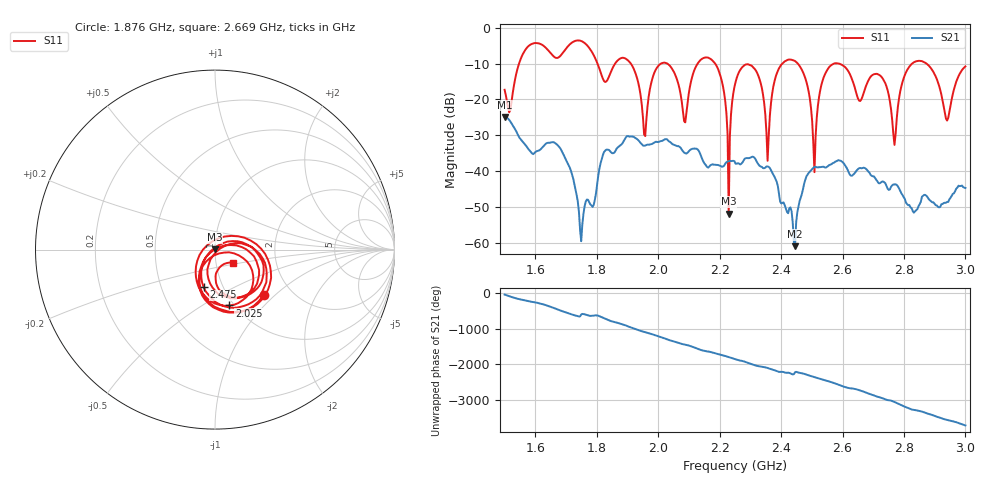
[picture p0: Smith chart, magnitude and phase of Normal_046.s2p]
# HZ S RI R 50
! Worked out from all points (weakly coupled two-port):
!   404 points, 1.5 GHz to 3 GHz, reference 50 ohm
!   highest |S21| = -24.88 dB at 1.5 GHz (marker M1); lowest = -60.9 dB at 2.445 GHz (marker M2)
!   lowest |S11| = -51.8 dB at 2.23 GHz (marker M3), VSWR 1.01, Z = 49.8 + j0.125 ohm
!   |S11| at or under -10 dB: 2.185 GHz to 2.404 GHz (219.1 MHz wide, 9.55 % of centre); 2.587 GHz to 2.827 GHz (239.8 MHz wide, 8.86 % of centre); 2.873 GHz to end of sweep (the widest 3 of 8)
!   S12 and S22 are empty: the file has one direction only
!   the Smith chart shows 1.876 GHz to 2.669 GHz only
!   S11 on the Smith chart (normalised r, x): 1.876 GHz: 1.46, -0.85; 2.025 GHz: 0.95, -0.66; 2.475 GHz: 0.81, -0.36; 2.669 GHz: 1.20, -0.18
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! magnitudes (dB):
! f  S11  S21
! 1.5 GHz  -17.3  -24.9
! 1.679 GHz  -8.1  -33.3
! 1.753 GHz  -3.9  -54.7
! 1.876 GHz  -8.6  -32.8
! 1.958 GHz  -30.2  -32.9
! 2.002 GHz  -10.5  -31.8
! 2.025 GHz  -9.9  -31.1
! 2.088 GHz  -26.4  -35.0
! 2.181 GHz  -9.6  -38.2
! 2.23 GHz  -51.8  -37.2
! 2.252 GHz  -15.2  -37.9
! 2.315 GHz  -11.6  -36.4
! 2.356 GHz  -37.1  -38.7
! 2.445 GHz  -9.3  -60.9
! 2.475 GHz  -13.2  -43.5
! 2.501 GHz  -26.1  -39.4
! 2.565 GHz  -10.4  -38.0
! 2.669 GHz  -18.2  -39.0
! 2.751 GHz  -18.8  -45.2
! 2.859 GHz  -9.3  -47.1
! 2.94 GHz  -25.9  -48.6
! 3 GHz  -10.8  -44.7
